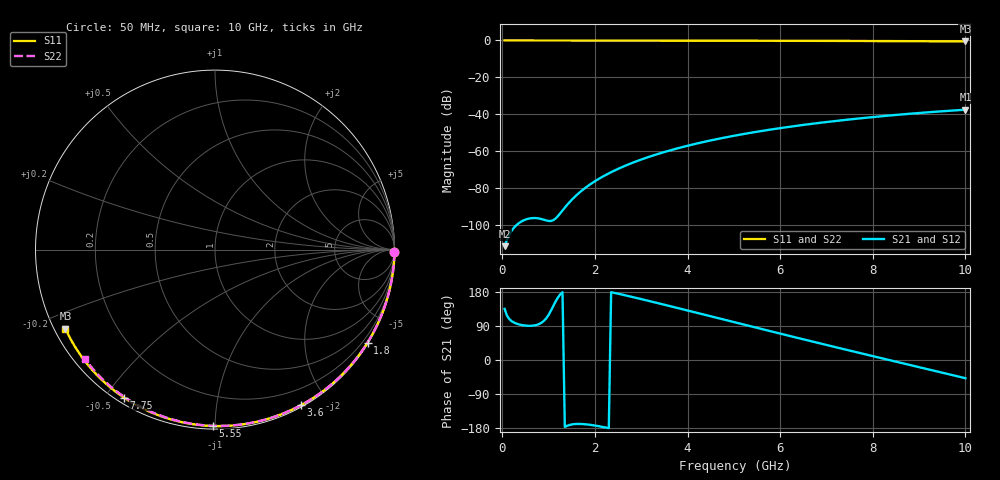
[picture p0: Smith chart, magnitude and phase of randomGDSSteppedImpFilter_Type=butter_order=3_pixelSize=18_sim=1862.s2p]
! freq	dB(S11)	phase(S11)	dB(S12)	phase(S12)
!  dB(S21)	phase(S21)	dB(S22)	phase(S22)
!S-par simulation data
#  GHz  S  DB  R 50
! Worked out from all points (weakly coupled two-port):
!   200 points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, 50 MHz to 10 GHz, reference 50 ohm
!   highest |S21| = -37.50 dB at 10 GHz (marker M1); lowest = -111.4 dB at 50 MHz (marker M2)
!   lowest |S11| = -0.5 dB at 10 GHz (marker M3), VSWR 33.79, Z = 1.57 - j12.4 ohm
!   |S11| at or under -10 dB: nowhere
!   |S22| runs from -0.5 to 0.0 dB; largest |S21 - S12| = 0
!   S11 on the Smith chart (normalised r, x): 50 MHz: open; 1.8 GHz: 0.03, -3.56; 3.6 GHz: 0.02, -1.70; 5.55 GHz: 0.02, -0.99; 7.75 GHz: 0.02, -0.56; 10 GHz: 0.03, -0.25
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0.05  -0.00 -0.9  -111.37 134.9  -111.37 134.9  -0.00 -0.8
0.45  -0.01 -8.0  -97.51 91.6  -97.51 91.6  -0.01 -7.3
0.9  -0.02 -15.8  -97.08 103.5  -97.08 103.5  -0.02 -14.6
1.3  -0.03 -22.8  -92.06 178.9  -92.06 178.9  -0.03 -20.9
1.75  -0.04 -30.5  -80.63 -169.2  -80.63 -169.2  -0.04 -28.0
1.8  -0.04 -31.3  -79.67 -169.7  -79.67 -169.7  -0.04 -28.8
1.95  -0.04 -33.9  -77.03 -172.0  -77.03 -172.0  -0.04 -31.2
2.1  -0.05 -36.4  -74.70 -175.1  -74.70 -175.1  -0.04 -33.5
2.3  -0.05 -39.8  -71.95 -179.8  -71.95 -179.8  -0.05 -36.6
2.5  -0.06 -43.1  -69.53 174.9  -69.53 174.9  -0.05 -39.7
2.9  -0.06 -49.7  -65.39 163.7  -65.39 163.7  -0.06 -45.8
3.4  -0.08 -57.8  -61.15 148.9  -61.15 148.9  -0.07 -53.3
3.6  -0.08 -61.0  -59.67 142.8  -59.67 142.8  -0.08 -56.2
4.3  -0.10 -72.0  -55.22 121.5  -55.22 121.5  -0.09 -66.4
5.05  -0.13 -83.4  -51.38 98.5  -51.38 98.5  -0.12 -76.9
5.55  -0.15 -90.7  -49.21 83.3  -49.21 83.3  -0.14 -83.8
6.1  -0.18 -98.7  -47.10 66.6  -47.10 66.6  -0.16 -91.2
6.7  -0.21 -107.2  -45.08 48.6  -45.08 48.6  -0.19 -99.0
7.75  -0.28 -121.6  -42.10 17.5  -42.10 17.5  -0.26 -112.4
8.35  -0.33 -129.8  -40.66 -0.0  -40.66 -0.0  -0.31 -119.8
9.2  -0.42 -141.3  -38.88 -24.8  -38.88 -24.8  -0.39 -130.2
10  -0.51 -152.1  -37.50 -48.0  -37.50 -48.0  -0.48 -140.0
